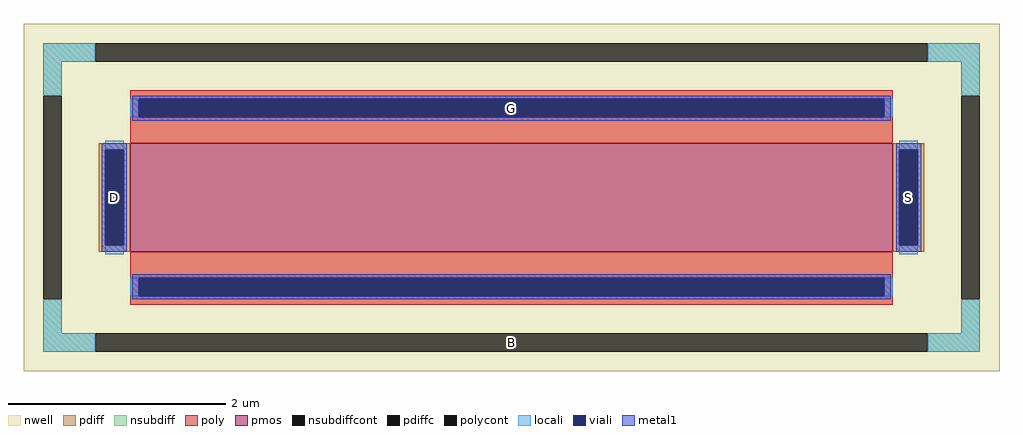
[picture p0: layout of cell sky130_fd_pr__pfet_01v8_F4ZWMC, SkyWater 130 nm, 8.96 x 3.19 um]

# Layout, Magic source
magic
tech sky130A
magscale 1 2
<< nwell >>
rect -896 -319 896 319
<< pmos >>
rect -700 -100 700 100
<< pdiff >>
rect -758 88 -700 100
rect -758 -88 -746 88
rect -712 -88 -700 88
rect -758 -100 -700 -88
rect 700 88 758 100
rect 700 -88 712 88
rect 746 -88 758 88
rect 700 -100 758 -88
<< pdiffc >>
rect -746 -88 -712 88
rect 712 -88 746 88
<< nsubdiff >>
rect -860 249 -764 283
rect 764 249 860 283
rect -860 187 -826 249
rect 826 187 860 249
rect -860 -249 -826 -187
rect 826 -249 860 -187
rect -860 -283 -764 -249
rect 764 -283 860 -249
<< nsubdiffcont >>
rect -764 249 764 283
rect -860 -187 -826 187
rect 826 -187 860 187
rect -764 -283 764 -249
<< poly >>
rect -700 181 700 197
rect -700 147 -684 181
rect 684 147 700 181
rect -700 100 700 147
rect -700 -147 700 -100
rect -700 -181 -684 -147
rect 684 -181 700 -147
rect -700 -197 700 -181
<< polycont >>
rect -684 147 684 181
rect -684 -181 684 -147
<< locali >>
rect -860 249 -764 283
rect 764 249 860 283
rect -860 187 -826 249
rect 826 187 860 249
rect -700 147 -684 181
rect 684 147 700 181
rect -746 88 -712 104
rect -746 -104 -712 -88
rect 712 88 746 104
rect 712 -104 746 -88
rect -700 -181 -684 -147
rect 684 -181 700 -147
rect -860 -249 -826 -187
rect 826 -249 860 -187
rect -860 -283 -764 -249
rect 764 -283 860 -249
<< viali >>
rect -684 147 684 181
rect -746 -88 -712 88
rect 712 -88 746 88
rect -684 -181 684 -147
<< metal1 >>
rect -696 181 696 187
rect -696 147 -684 181
rect 684 147 696 181
rect -696 141 696 147
rect -752 88 -706 100
rect -752 -88 -746 88
rect -712 -88 -706 88
rect -752 -100 -706 -88
rect 706 88 752 100
rect 706 -88 712 88
rect 746 -88 752 88
rect 706 -100 752 -88
rect -696 -147 696 -141
rect -696 -181 -684 -147
rect 684 -181 696 -147
rect -696 -187 696 -181
<< labels >>
rlabel nsubdiffcont 0 -266 0 -266 0 B
port 5 nsew
rlabel pdiffc -729 0 -729 0 0 D
port 6 nsew
rlabel pdiffc 729 0 729 0 0 S
port 7 nsew
rlabel polycont 0 164 0 164 0 G
port 8 nsew
<< properties >>
string FIXED_BBOX -843 -266 843 266
string gencell sky130_fd_pr__pfet_01v8
string library sky130
string parameters w 1.0 l 7.0 m 1 nf 1 diffcov 100 polycov 100 guard 1 glc 1 grc 1 gtc 1 gbc 1 tbcov 100 rlcov 100 topc 1 botc 1 poverlap 0 doverlap 1 lmin 0.15 wmin 0.42 class mosfet compatible {sky130_fd_pr__pfet_01v8  sky130_fd_pr__pfet_01v8_lvt sky130_fd_pr__pfet_01v8_hvt  sky130_fd_pr__pfet_g5v0d10v5} full_metal 1 conn_gates 0 viasrc 100 viadrn 100 viagate 100 viagb 0 viagr 0 viagl 0 viagt 0 doports 1 ad 0.29 as 0.29 pd 2.58 ps 2.58 nrd 0.29 nrs 0.29 sa 0 sb 0 sd 0 mult 1
<< end >>
